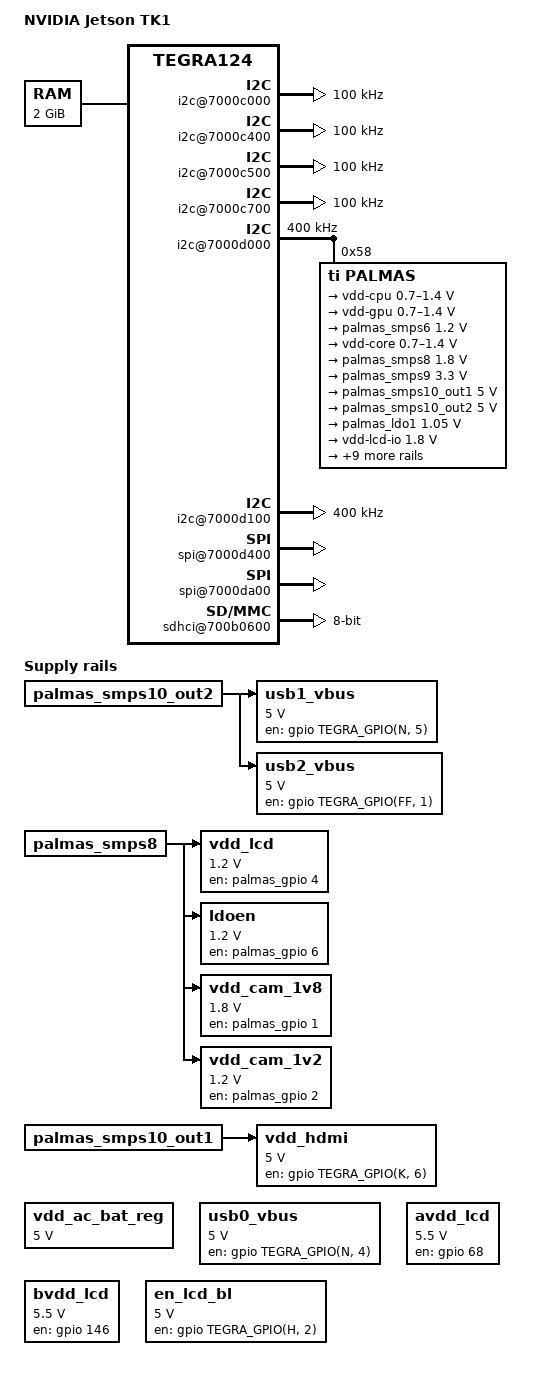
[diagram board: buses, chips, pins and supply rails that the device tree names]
/dts-v1/;

#include "tegra124.dtsi"

/ {
	model = "NVIDIA Jetson TK1";
	compatible = "nvidia,jetson-tk1", "nvidia,tegra124";

	aliases {
		i2c0 = "/i2c@7000d000";
		i2c1 = "/i2c@7000c000";
		i2c2 = "/i2c@7000c400";
		i2c3 = "/i2c@7000c500";
		i2c4 = "/i2c@7000c700";
		i2c5 = "/i2c@7000d100";
		sdhci0 = "/sdhci@700b0600";
		sdhci1 = "/sdhci@700b0400";
		spi0 = "/spi@7000d400";
		spi1 = "/spi@7000da00";
		usb0 = "/usb@7d000000";
		usb1 = "/usb@7d008000";
	};

	memory {
		device_type = "memory";
		reg = <0x80000000 0x80000000>;
	};

	i2c@7000c000 {
		status = "okay";
		clock-frequency = <100000>;
	};

	i2c@7000c400 {
		status = "okay";
		clock-frequency = <100000>;
	};

	i2c@7000c500 {
		status = "okay";
		clock-frequency = <100000>;
	};

	i2c@7000c700 {
		status = "okay";
		clock-frequency = <100000>;
	};

	/* Expansion PWR_I2C_*, on-board components */
	i2c@7000d000 {
		status = "okay";
		clock-frequency = <400000>;
		palmas: tps65913@58 {
			compatible = "ti,palmas";
			reg = <0x58>;
			interrupts = <0 86 0>;
			#interrupt-cells = <2>;
 			interrupt-controller;
			ti,long_press_delay = <1>;
			
			palmas_gpio: gpio {
				compatible = "ti,palmas-gpio";
				gpio-controller;
				#gpio-cells = <2>;
 			};
			
			rtc {
				compatible = "ti,palmas-rtc";
				interrupt-parent = <&palmas>;
				interrupts = <8 0>;
			};
			
			pinmux {
				compatible = "ti,tps65913-pinctrl";
				pinctrl-names = "default";
				pinctrl-0 = <&palmas_default>;

				palmas_default: pinmux {
					powergood {
						pins = "powergood";
						function = "powergood";
					};

					vac {
						pins = "vac";
						function = "vac";
					};

					pin_gpio0 {
						pins = "gpio0";
						function = "id";
						bias-pull-up;
					};

					pin_gpio1 {
						pins = "gpio1";
						function = "gpio";
					};

					pin_gpio6 {
						pins = "gpio2", "gpio3", "gpio4", "gpio6", "gpio7";
						function = "gpio";
					};

					pin_gpio5 {
						pins = "gpio5";
						function = "clk32kgaudio";
					};
 				};
			};
			
			power_pm {
				compatible = "ti,palmas-pm";
				system-pmic-power-off;
			};
			
			clock {
				compatible = "ti,palmas-clk";
				clk32k_kg {
					ti,clock-boot-enable;
 				};

				clk32k_kg_audio {
					ti,clock-boot-enable;
 				};
			};

			pmic {
			compatible = "ti,tps65913-pmic", "ti,palmas-pmic";
				ldo1-in-supply = <&palmas_smps6>;
				ldo2-in-supply = <&palmas_smps6>;
				ldo3-in-supply = <&palmas_smps10_out2>;
				ldo5-in-supply = <&palmas_smps8>;
				ldo6-in-supply = <&palmas_smps9>;
				ldo7-in-supply = <&palmas_smps9>;
				ldo9-in-supply = <&palmas_smps9>;
				ldoln-in-supply = <&palmas_smps10_out2>;
				smps10-out2-supply = <&palmas_smps10_out2>;

				regulators {
					smps123 {
						regulator-name = "vdd-cpu";
						regulator-min-microvolt = <700000>;
						regulator-max-microvolt = <1400000>;
						regulator-always-on;
						regulator-boot-on;
						ti,roof-floor = <1>;
						ti,config-flags = <8>;
					};

					smps45 {
						regulator-name = "vdd-gpu";
						regulator-min-microvolt = <700000>;
						regulator-max-microvolt = <1400000>;
						regulator-init-microvolt = <1000000>;
						regulator-boot-on;
					};

					palmas_smps6: smps6 {
						regulator-name = "vddio-ddr";
						regulator-min-microvolt = <1200000>;
						regulator-max-microvolt = <1200000>;
						regulator-always-on;
						regulator-boot-on;
					};

					smps7 {
						regulator-name = "vdd-core";
						regulator-min-microvolt = <700000>;
						regulator-max-microvolt = <1400000>;
						regulator-always-on;
						regulator-boot-on;
						ti,roof-floor = <3>;
					};

					palmas_smps8: smps8 {
						regulator-name = "vdd-1v8";
						regulator-min-microvolt = <1800000>;
						regulator-max-microvolt = <1800000>;
						regulator-always-on;
						regulator-boot-on;
					};

					palmas_smps9: smps9 {
						regulator-name = "vdd-snsr";
						regulator-min-microvolt = <3300000>;
						regulator-max-microvolt = <3300000>;
					};

					palmas_smps10_out1: smps10_out1 {
						regulator-name = "vdd-out1-5v0";
						regulator-min-microvolt = <5000000>;
						regulator-max-microvolt = <5000000>;
						regulator-always-on;
						regulator-boot-on;
					};

					palmas_smps10_out2: smps10_out2 {
						regulator-name = "vdd-out2-5v0";
						regulator-min-microvolt = <5000000>;
						regulator-max-microvolt = <5000000>;
					};

					palmas_ldo1: ldo1 {
						regulator-name = "avdd-pll";
						regulator-min-microvolt = <1050000>;
						regulator-max-microvolt = <1050000>;
						regulator-always-on;
						regulator-boot-on;
						ti,roof-floor = <3>;
					};

					ldo2 {
						regulator-name = "vdd-lcd-io";
						regulator-min-microvolt = <1800000>;
						regulator-max-microvolt = <1800000>;
						regulator-boot-on;
					};

					ldo3 {
						regulator-name = "vdd-touch";
						regulator-min-microvolt = <3300000>;
						regulator-max-microvolt = <3300000>;
					};

					ldo4 {
						regulator-name = "avdd-cam";
						regulator-min-microvolt = <2700000>;
						regulator-max-microvolt = <2700000>;
					};

					ldo5 {
						regulator-name = "avdd-dsi-csi";
						regulator-min-microvolt = <1200000>;
						regulator-max-microvolt = <1200000>;
					};

					ldo6 {
						regulator-name = "vdd-cam-af";
						regulator-min-microvolt = <1800000>;
						regulator-max-microvolt = <1800000>;
					};

					ldo7 {
						regulator-name = "avdd-cam-af";
						regulator-min-microvolt = <2700000>;
						regulator-max-microvolt = <2700000>;
					};

					ldo8 {
						regulator-name = "vdd-rtc";
						regulator-min-microvolt = <950000>;
						regulator-max-microvolt = <950000>;
						regulator-always-on;
						regulator-boot-on;
					};

					ldo9 {
						regulator-name = "vddio-sdmmc-2";
						regulator-min-microvolt = <1800000>;
						regulator-max-microvolt = <3300000>;
					};

					palmas_ldoln: ldoln {
						regulator-name = "vddio-hv";
						regulator-min-microvolt = <3300000>;
						regulator-max-microvolt = <3300000>;
						regulator-always-on;
						regulator-boot-on;
					};

					ldousb {
						regulator-name = "avdd-usb";
						regulator-min-microvolt = <3300000>;
						regulator-max-microvolt = <3300000>;
						regulator-always-on;
						regulator-boot-on;
					};
				};
			};
		};
	};

	i2c@7000d100 {
		status = "okay";
		clock-frequency = <400000>;
	};

	spi@7000d400 {
		status = "okay";
		spi-max-frequency = <25000000>;
	};

	spi@7000da00 {
		status = "okay";
		spi-max-frequency = <25000000>;
	};

	sdhci@700b0600 {
		status = "okay";
		bus-width = <8>;
	};

	regulators {
		compatible = "simple-bus";
		#address-cells = <1>;
		#size-cells = <0>;

		vdd_ac_bat_reg: regulator@0 {
			compatible = "regulator-fixed";
			reg = <0>;
			regulator-name = "vdd_ac_bat";
			regulator-min-microvolt = <5000000>;
			regulator-max-microvolt = <5000000>;
			regulator-always-on;
		};

		usb0_vbus: regulator@1 {
			compatible = "regulator-fixed-sync";
			reg = <1>;
			regulator-name = "usb0-vbus";
			regulator-min-microvolt = <5000000>;
			regulator-max-microvolt = <5000000>;
			gpio = <&gpio TEGRA_GPIO(N, 4) 0>;
			enable-active-high;
			gpio-open-drain;
		};

		usb1_vbus: regulator@2 {
			compatible = "regulator-fixed-sync";
			reg = <2>;
			regulator-name = "usb1-vbus";
			regulator-min-microvolt = <5000000>;
			regulator-max-microvolt = <5000000>;
			enable-active-high;
			gpio = <&gpio TEGRA_GPIO(N, 5) 0>;
			gpio-open-drain;
			vin-supply = <&palmas_smps10_out2>;
		};

		usb2_vbus: regulator@3 {
			compatible = "regulator-fixed-sync";
			reg = <3>;
			regulator-name = "usb2-vbus";
			regulator-min-microvolt = <5000000>;
			regulator-max-microvolt = <5000000>;
			enable-active-high;
			gpio = <&gpio TEGRA_GPIO(FF, 1) 0>;
			gpio-open-drain;
			vin-supply = <&palmas_smps10_out2>;
		};

		avdd_lcd: regulator@41 {
			compatible = "regulator-fixed-sync";
			reg = <41>;
			regulator-name = "avdd-lcd-vsp";
			regulator-min-microvolt = <5500000>;
			regulator-max-microvolt = <5500000>;
			regulator-boot-on;
			gpio = <&gpio 68 0>;
			enable-active-high;
		};
		
		bvdd_lcd: regulator@42 {
				compatible = "regulator-fixed-sync";
				reg = <42>;
				regulator-name = "avdd-lcd-vsn";
				regulator-min-microvolt = <5500000>;
				regulator-max-microvolt = <5500000>;
				regulator-boot-on;
				gpio = <&gpio 146 0>;
				enable-active-high;
		};


		vdd_lcd: regulator@5 {
			compatible = "regulator-fixed-sync";
			reg = <5>;
			regulator-name = "vdd-lcd";
			regulator-min-microvolt = <1200000>;
			regulator-max-microvolt = <1200000>;
			enable-active-high;
			gpio = <&palmas_gpio 4 0>;
			vin-supply = <&palmas_smps8>;
		};

		ldoen: regulator@6 {
			compatible = "regulator-fixed-sync";
			reg = <6>;
			regulator-name = "ldoen";
			regulator-min-microvolt = <1200000>;
			regulator-max-microvolt = <1200000>;
			enable-active-high;
			gpio = <&palmas_gpio 6 0>;
			vin-supply = <&palmas_smps8>;
		};

		en_lcd_bl: regulator@8 {
			compatible = "regulator-fixed-sync";
			reg = <8>;
			regulator-name = "en-lcd-bl";
			regulator-min-microvolt = <5000000>;
			regulator-max-microvolt = <5000000>;
			enable-active-high;
			gpio = <&gpio TEGRA_GPIO(H, 2) 0>;
		};

		vdd_hdmi: regulator@9 {
			compatible = "regulator-fixed-sync";
			reg = <9>;
			regulator-name = "vdd-hdmi";
			regulator-min-microvolt = <5000000>;
			regulator-max-microvolt = <5000000>;
			enable-active-high;
			gpio = <&gpio TEGRA_GPIO(K, 6) 0>;
			vin-supply = <&palmas_smps10_out1>;
		};
		
		vdd_cam_1v8: regulator@10 {
				compatible = "regulator-fixed-sync";
				reg = <10>;
				regulator-name = "vdd-cam-1v8";
				regulator-min-microvolt = <1800000>;
				regulator-max-microvolt = <1800000>;
				enable-active-high;
				gpio = <&palmas_gpio 1 0>;
				vin-supply = <&palmas_smps8>;
		};
		vdd_cam_1v2: regulator@11 {
				compatible = "regulator-fixed-sync";
				reg = <11>;
				regulator-name = "vdd-cam-1v2";
				regulator-min-microvolt = <1200000>;
				regulator-max-microvolt = <1200000>;
				enable-active-high;
				gpio = <&palmas_gpio 2 0>;
				vin-supply = <&palmas_smps8>;
		};				
	};
};
